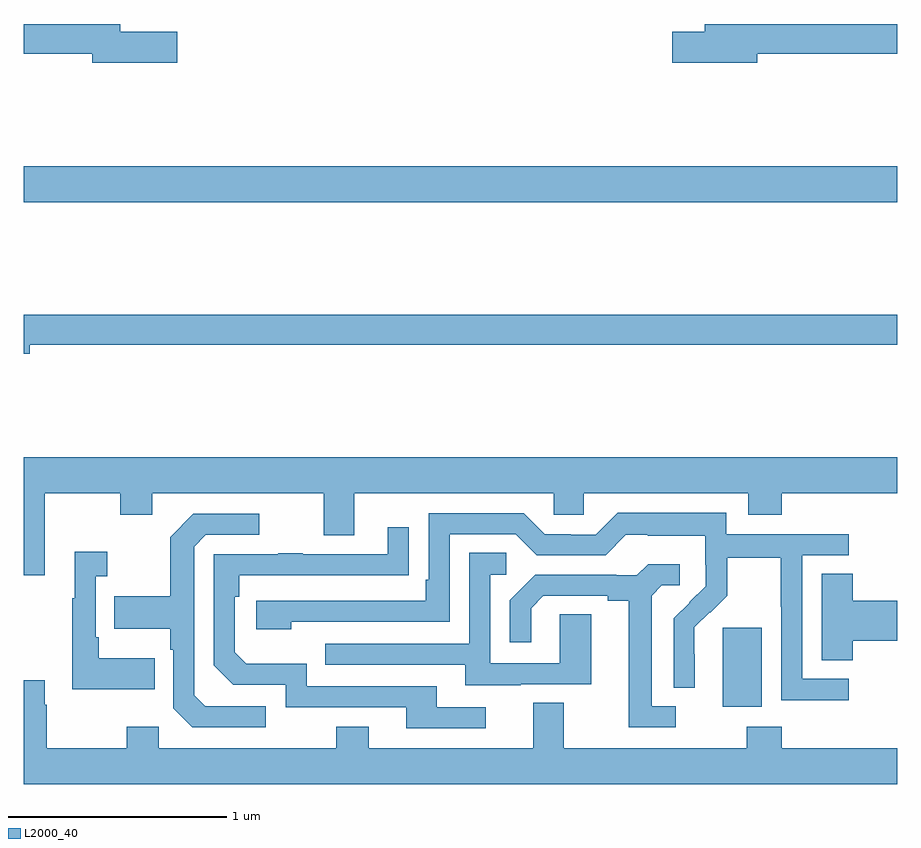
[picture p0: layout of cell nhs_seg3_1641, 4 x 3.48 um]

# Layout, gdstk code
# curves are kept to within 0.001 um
import gdstk
lib = gdstk.Library(unit=1e-6, precision=1e-09)
def R(c, l, rs):  # rectangles x0, y0, x1, y1
    for r in rs: c.add(gdstk.rectangle(r[:2], r[2:], *l))
def P(c, l, *ps):  # polygons
    for p in ps: c.add(gdstk.Polygon(p, *l))
L2000_40 = (2000, 40)

nhs_seg3_1641 = lib.new_cell('nhs_seg3_1641')
R(nhs_seg3_1641, L2000_40, [(198.2,729.242,198.379,729.603), (195,731.552,199,731.716)])
P(nhs_seg3_1641, L2000_40, [(195.703,732.332),(195.442,732.332),(195.442,732.368),(195,732.368),(195,732.232),(195.314,732.232),(195.314,732.19),(195.703,732.19)],
  [(198.358,732.232),(199,732.232),(199,732.368),(198.119,732.368),(198.119,732.332),(197.97,732.332),(197.97,732.19),(198.358,732.19)],
  [(195.028,730.9),(199,730.9),(199,731.036),(195,731.036),(195,730.858),(195.028,730.858)],
  [(195.097,730.22),(195.442,730.22),(195.442,730.121),(195.589,730.121),(195.589,730.22),(196.373,730.22),(196.373,730.026),(196.513,730.026),(196.513,730.22),(197.427,730.22),(197.427,730.122),(197.565,730.122),(197.565,730.22),(198.317,730.22),(198.317,730.121),(198.47,730.121),(198.47,730.22),(199,730.22),(199,730.384),(195,730.384),(195,729.843),(195.097,729.843)],
  [(198.778,729.369),(198.564,729.369),(198.564,729.936),(198.778,729.936),(198.778,730.032),(198.216,730.032),(198.216,730.129),(197.719,730.129),(197.619,730.029),(197.504,730.029),(197.504,730.032),(197.385,730.032),(197.289,730.128),(196.854,730.128),(196.854,729.823),(196.841,729.823),(196.841,729.726),(196.065,729.726),(196.065,729.596),(196.226,729.596),(196.226,729.63),(196.95,729.63),(196.95,730.032),(197.253,730.032),(197.349,729.936),(197.664,729.936),(197.757,730.029),(197.857,730.029),(197.857,730.025),(198.12,730.025),(198.12,729.891),(198.122,729.891),(198.122,729.794),(197.976,729.646),(197.976,729.328),(198.072,729.328),(198.071,729.605),(198.141,729.675),(198.144,729.672),(198.221,729.749),(198.221,729.924),(198.466,729.924),(198.466,729.7),(198.468,729.7),(198.468,729.271),(198.778,729.271)],
  [(196.108,729.243),(195.831,729.243),(195.78,729.294),(195.78,729.975),(195.834,730.029),(196.078,730.029),(196.078,730.125),(195.777,730.125),(195.672,730.019),(195.672,729.747),(195.415,729.747),(195.415,729.599),(195.672,729.599),(195.672,729.503),(195.684,729.503),(195.684,729.234),(195.771,729.147),(196.108,729.147)],
  [(197.116,729.24),(196.891,729.24),(196.891,729.336),(196.296,729.336),(196.296,729.439),(196.019,729.439),(195.966,729.492),(195.966,729.746),(195.986,729.746),(195.986,729.843),(196.763,729.844),(196.763,730.063),(196.667,730.063),(196.667,729.939),(196.277,729.939),(196.277,729.944),(196.165,729.944),(196.165,729.939),(195.87,729.939),(195.87,729.432),(195.96,729.342),(196.2,729.342),(196.2,729.24),(196.751,729.24),(196.751,729.144),(197.116,729.144)],
  [(195.599,729.463),(195.343,729.463),(195.343,729.559),(195.33,729.559),(195.33,729.839),(195.382,729.839),(195.382,729.952),(195.233,729.952),(195.233,729.739),(195.222,729.739),(195.222,729.323),(195.599,729.323)],
  [(197.275,729.345),(197.599,729.345),(197.599,729.665),(197.454,729.665),(197.454,729.441),(197.136,729.441),(197.136,729.846),(197.209,729.846),(197.209,729.947),(197.04,729.947),(197.04,729.531),(196.381,729.531),(196.381,729.435),(197.021,729.435),(197.021,729.341),(197.275,729.341)],
  [(197.986,729.243),(197.875,729.243),(197.875,729.751),(197.922,729.798),(198.004,729.798),(198.004,729.895),(197.86,729.895),(197.808,729.843),(197.714,729.843),(197.714,729.846),(197.342,729.846),(197.226,729.73),(197.226,729.537),(197.323,729.537),(197.323,729.693),(197.38,729.75),(197.675,729.75),(197.675,729.728),(197.771,729.728),(197.771,729.147),(197.986,729.147)],
  [(198.797,729.545),(199,729.545),(199,729.728),(198.797,729.728),(198.797,729.851),(198.653,729.851),(198.653,729.454),(198.797,729.454)],
  [(199,729.052),(198.47,729.052),(198.47,729.151),(198.31,729.151),(198.31,729.052),(197.473,729.052),(197.473,729.26),(197.333,729.26),(197.333,729.052),(196.579,729.052),(196.579,729.151),(196.432,729.151),(196.432,729.052),(195.618,729.052),(195.618,729.151),(195.472,729.151),(195.472,729.052),(195.105,729.052),(195.105,729.251),(195.097,729.251),(195.097,729.364),(195,729.364),(195,728.888),(199,728.888)])

lib.write_gds('nhs_seg3_1641.gds')
